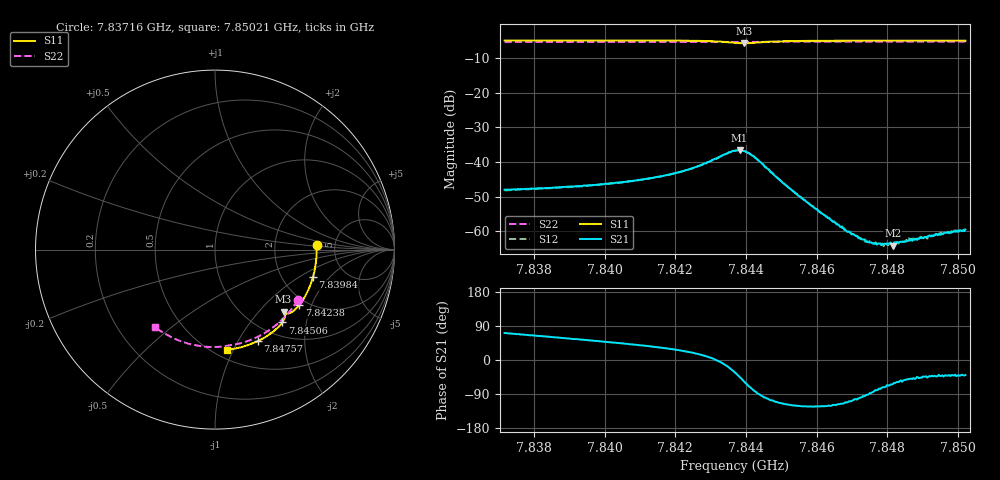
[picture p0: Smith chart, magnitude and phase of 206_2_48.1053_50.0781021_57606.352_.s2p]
#  HZ  S  RI  R  50.00
! Rohde & Schwarz Vector Network Analyzer
! Rohde-Schwarz,ZNB20-2Port,1311601062101988,3.16
! Created: UTC 12/23/2023, 3:55:17 AM
! freq[Hz]  re:S11  im:S11  re:S21  im:S21  re:S12  im:S12  re:S22  im:S22
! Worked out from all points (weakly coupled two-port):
!   401 points, 7.83716 GHz to 7.85021 GHz, reference 50 ohm
!   highest |S21| = -36.59 dB at 7.84382 GHz (marker M1); lowest = -64.1 dB at 7.84816 GHz (marker M2)
!   lowest |S11| = -5.7 dB at 7.84395 GHz (marker M3), VSWR 3.13, Z = 73.1 - j69.1 ohm
!   |S11| at or under -10 dB: nowhere
!   |S22| runs from -5.4 to -5.3 dB; largest |S21 - S12| = 0.00036
!   S11 on the Smith chart (normalised r, x): 7.83716 GHz: 3.59, +0.27; 7.83984 GHz: 2.96, -1.32; 7.84238 GHz: 1.81, -1.64; 7.84506 GHz: 1.25, -1.46; 7.84757 GHz: 0.81, -1.21; 7.85021 GHz: 0.58, -0.95
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7.837164e9  0.5657 0.0251  0.00128 0.00377  0.00131 0.00369  0.4613 -0.2798
7.839349e9  0.554 -0.1197  0.00267 0.00366  0.00262 0.00359  0.3651 -0.3983
7.839839e9  0.5462 -0.1516  0.00307 0.0036  0.00305 0.00358  0.3392 -0.4208
7.841535e9  0.5026 -0.2591  0.00514 0.00335  0.00509 0.00336  0.2394 -0.4855
7.842383e9  0.469 -0.3102  0.00733 0.0028  0.00729 0.0028  0.1845 -0.5089
7.843199e9  0.4206 -0.3515  0.0115 -0.000395  0.0115 -0.000294  0.1294 -0.5248
7.843688e9  0.3862 -0.3537  0.0122 -0.008  0.0122 -0.00787  0.0966 -0.5303
7.843819e9  0.3821 -0.3498  0.0105 -0.0105  0.0105 -0.0105  0.0883 -0.5317
7.843949e9  0.3822 -0.3465  0.00775 -0.0121  0.00793 -0.012  0.0801 -0.5331
7.844276e9  0.3903 -0.3536  0.00119 -0.0113  0.00122 -0.0113  0.0592 -0.537
7.845058e9  0.3752 -0.4056  -0.00213 -0.00445  -0.00211 -0.0045  0.00439 -0.5425
7.845874e9  0.335 -0.4485  -0.00125 -0.00193  -0.00126 -0.00194  -0.0532 -0.541
7.84682e9  0.2817 -0.4865  -0.000381 -0.000968  -0.000415 -0.000957  -0.119 -0.531
7.847016e9  0.2703 -0.4933  -0.000263 -0.000864  -0.000261 -0.000882  -0.1323 -0.5281
7.847407e9  0.2467 -0.5058  -2.83e-05 -0.000716  -5.18e-05 -0.000696  -0.1591 -0.5208
7.84757e9  0.2368 -0.5105  5.46e-05 -0.000672  7.57e-05 -0.000666  -0.1699 -0.5175
7.847831e9  0.2209 -0.5177  0.000174 -0.000606  0.000147 -0.000645  -0.1871 -0.5118
7.84806e9  0.2066 -0.5237  0.000262 -0.000616  0.000244 -0.000613  -0.2021 -0.506
7.848158e9  0.2005 -0.5262  0.000276 -0.000556  0.000322 -0.000595  -0.2086 -0.5035
7.849104e9  0.1402 -0.5453  0.000605 -0.000567  0.000584 -0.000562  -0.2684 -0.4748
7.849463e9  0.1169 -0.5504  0.000719 -0.000582  0.000672 -0.000605  -0.2901 -0.4622
7.850213e9  0.0676 -0.5584  0.000812 -0.000678  0.000779 -0.00068  -0.3335 -0.4324
